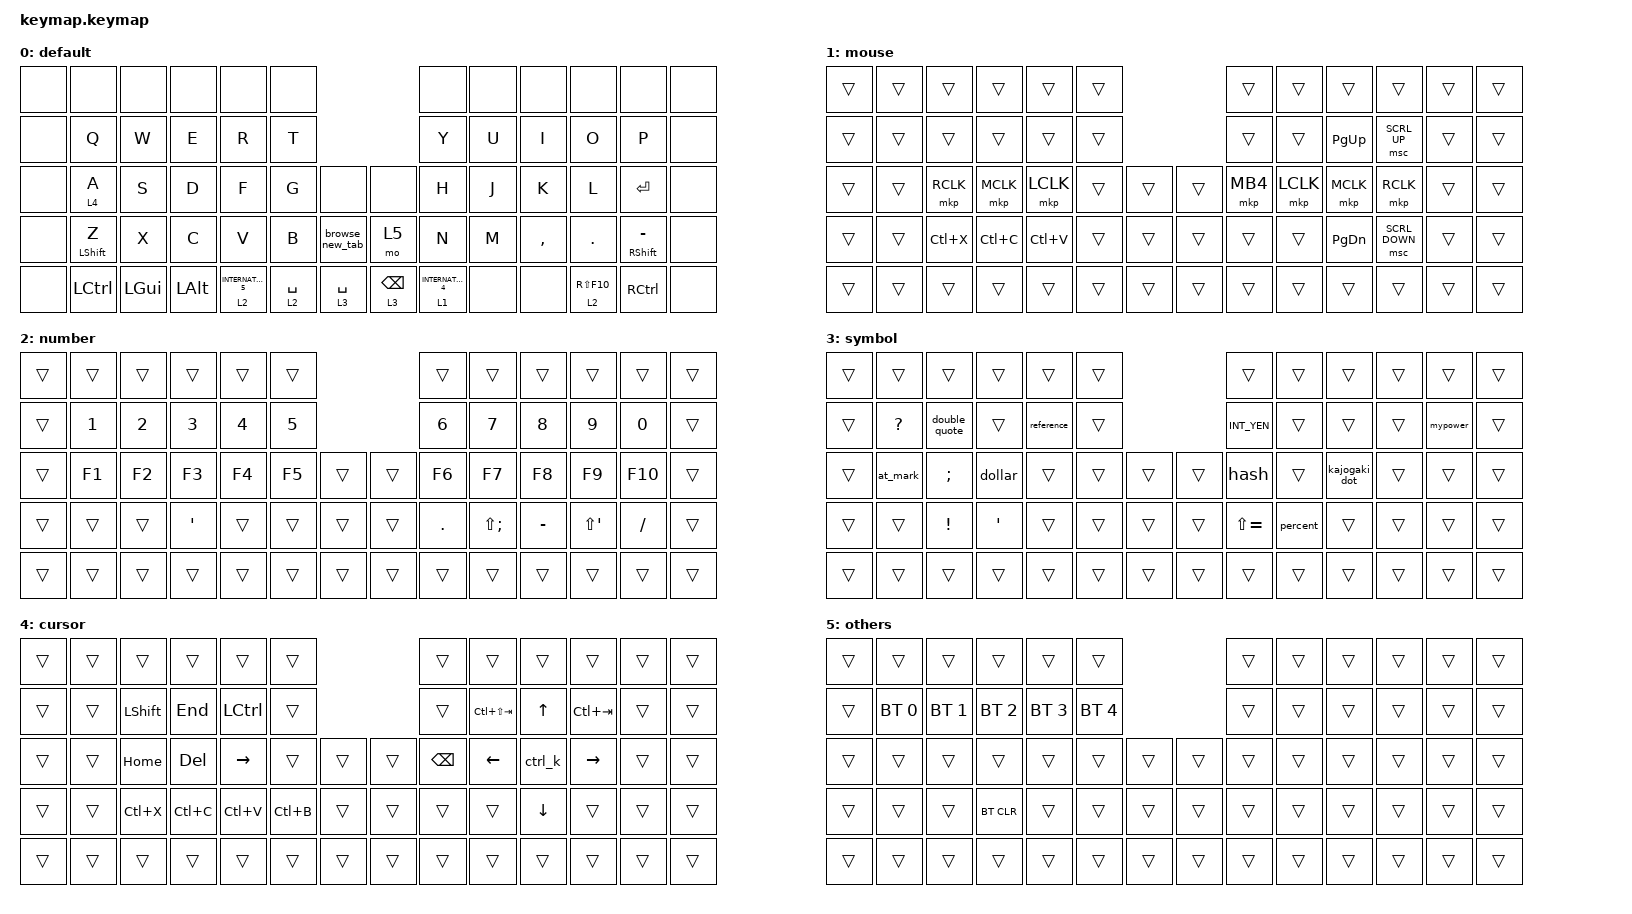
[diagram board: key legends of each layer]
#include <behaviors.dtsi>
#include <dt-bindings/zmk/bt.h>
#include <dt-bindings/zmk/keys.h>
#include <dt-bindings/zmk/pointing.h>

// OS設定を日本語キーボードのまま使用するための変換定義

#define JP_DQUOTE       AT                // "
#define JP_AMPERSAND    CARET             // &
#define JP_QUOTE        AMPERSAND         // '
#define JP_EQUAL        UNDER             // =
#define JP_CARET        EQUAL             // ^
#define JP_YEN          0x89              // ¥
#define JP_PLUS         COLON             // +
#define JP_TILDE        PLUS              // ~
#define JP_PIPE         LS(0x89)          // |
#define JP_AT           LEFT_BRACKET      // @
#define JP_COLON        SINGLE_QUOTE      // :
#define JP_ASTERISK     DOUBLE_QUOTES     // *
#define JP_BACKQUOTE    LEFT_BRACE        // `
#define JP_UNDERSCORE   LS(0x87)          // _
#define JP_LBRACKET     RIGHT_BRACKET     // [
#define JP_RBRACKET     BACKSLASH         // ]
#define JP_LPAREN       ASTERISK          // (
#define JP_RPAREN       LEFT_PARENTHESIS  // )
#define JP_LBRACE       RIGHT_BRACE       // {
#define JP_RBRACE       PIPE              // }
#define JP_KANA         LANGUAGE_1        // かな
#define JP_EISU         LANGUAGE_2        // 英数
#define JP_HANZEN       GRAVE             // 半角/全角

&mt {
    tapping-term-ms = <300>;
    flavor = "tap-preferred";
};

&lt { tapping-term-ms = <250>; };

/ {
    combos {
        compatible = "zmk,combos";

        bt_clear {
            bindings = <&bt BT_CLR>;
            key-positions = <28 29>;
            layers = <2>;
        };

        escape {
            bindings = <&kp ESCAPE>;
            key-positions = <25 28>;
        };

        tab {
            bindings = <&kp TAB>;
            key-positions = <13 14>;
        };

        gui_left {
            bindings = <&kp LGUI>;
            key-positions = <40 41>;
        };

        gui_right {
            bindings = <&kp RIGHT_META>;
            key-positions = <49 48>;
        };

        minus {
            bindings = <&kp MINUS>;
            key-positions = <36 50>;
        };

        alt_right {
            bindings = <&kp RIGHT_ALT>;
            key-positions = <20 21>;
        };

        alt_left {
            bindings = <&kp LEFT_ALT>;
            key-positions = <14 15>;
        };

        pipe {
            bindings = <&kp JP_PIPE>;
            key-positions = <18 40>;
        };

        slash {
            bindings = <&slash>;
            key-positions = <19 40>;
        };

        minus_2 {
            bindings = <&kp MINUS>;
            key-positions = <33 40>;
        };

        backslash {
            bindings = <&backslash>;
            key-positions = <47 40>;
        };

        underscore {
            bindings = <&underscore>;
            key-positions = <46 40>;
        };

        kakko_maru {
            bindings = <&marukakko>;
            key-positions = <47 34>;
        };

        kakko_kagi {
            bindings = <&kagikakko>;
            key-positions = <34 41>;
        };

        kakko_dai {
            bindings = <&daikakko>;
            key-positions = <34 27>;
        };

        kakko_nami {
            bindings = <&namikakko>;
            key-positions = <34 46>;
        };
    };

    macros {
        kagikakko: kagikakko {
            compatible = "zmk,behavior-macro";
            #binding-cells = <0>;
            bindings = <&kp INTERNATIONAL_4 &kp RIGHT_BRACKET &kp BACKSLASH &kp ENTER &kp LEFT>;
            label = "KAGIKAKKO";
        };

        browse_new_tab: browse_new_tab {
            compatible = "zmk,behavior-macro";
            #binding-cells = <0>;
            bindings = <&kp LC(C) &kp LC(T) &kp LC(V) &kp ENTER>;
            label = "BROWSE_NEW_TAB";
        };

        ctrl_k: ctrl_k {
            compatible = "zmk,behavior-macro";
            #binding-cells = <0>;
            bindings = <&kp LS(END) &kp LC(X)>;
            label = "CTRL_K";
        };

        marukakko: marukakko {
            compatible = "zmk,behavior-macro";
            #binding-cells = <0>;
            bindings = <&kp INTERNATIONAL_5 &kp LS(ASTRK) &kp LS(NUMBER_9) &kp LEFT_ARROW &kp INTERNATIONAL_4>;
            label = "MARUKAKKO";
        };

        daikakko: daikakko {
            compatible = "zmk,behavior-macro";
            #binding-cells = <0>;
            bindings = <&kp INTERNATIONAL_5 &kp JP_LBRACKET &kp JP_RBRACKET &kp LEFT_ARROW &kp INTERNATIONAL_4>;
            label = "DAIKAKKO";
        };

        namikakko: namikakko {
            compatible = "zmk,behavior-macro";
            #binding-cells = <0>;
            bindings = <&kp INTERNATIONAL_5 &kp JP_LBRACE &kp JP_RBRACE &kp LEFT_ARROW &kp INTERNATIONAL_4>;
            label = "NAMIKAKKO";
        };

        double_quote: double_quote {
            compatible = "zmk,behavior-macro";
            #binding-cells = <0>;
            bindings = <&kp INTERNATIONAL_5 &kp AT_SIGN &kp AT_SIGN &kp LEFT &kp INTERNATIONAL_4>;
            label = "DOUBLE_QUOTE";
        };

        at_mark: at_mark {
            compatible = "zmk,behavior-macro";
            #binding-cells = <0>;
            bindings = <&kp INTERNATIONAL_5 &kp LEFT_BRACKET>;
            label = "AT_MARK";
        };

        slash: slash {
            compatible = "zmk,behavior-macro";
            #binding-cells = <0>;
            bindings = <&kp INTERNATIONAL_5 &kp SLASH>;
            label = "SLASH";
        };

        hash: hash {
            compatible = "zmk,behavior-macro";
            #binding-cells = <0>;
            bindings = <&kp INTERNATIONAL_5 &kp LS(NUMBER_3)>;
            label = "HASH";
        };

        dollar: dollar {
            compatible = "zmk,behavior-macro";
            #binding-cells = <0>;
            bindings = <&kp INTERNATIONAL_5 &kp LS(NUMBER_4)>;
            label = "DOLLAR";
        };

        percent: percent {
            compatible = "zmk,behavior-macro";
            #binding-cells = <0>;
            bindings = <&kp INTERNATIONAL_5 &kp LS(N5)>;
            label = "PERCENT";
        };

        reference: reference {
            compatible = "zmk,behavior-macro";
            #binding-cells = <0>;
            bindings = <&kp INTERNATIONAL_5 &kp LS(NUMBER_6)>;
            label = "REFERENCE";
        };

        underscore: underscore {
            compatible = "zmk,behavior-macro";
            #binding-cells = <0>;
            bindings = <&kp INTERNATIONAL_5 &kp JP_UNDERSCORE>;
            label = "UNDERSCORE";
        };

        backslash: backslash {
            compatible = "zmk,behavior-macro";
            #binding-cells = <0>;
            bindings = <&kp INTERNATIONAL_5 &kp JP_YEN>;
            label = "BACKSLASH";
        };

        mypower: mypower {
            compatible = "zmk,behavior-macro";
            #binding-cells = <0>;
            bindings = <&kp INTERNATIONAL_5 &kp JP_CARET>;
            label = "MYPOWER";
        };

        kajogaki_dot: kajogaki_dot {
            compatible = "zmk,behavior-macro";
            #binding-cells = <0>;
            bindings = <&kp INTERNATIONAL_4 &kp SLASH &kp ENTER>;
            label = "KAJOGAKI_DOT";
        };

        click_and_ctrlv: click_and_ctrlv {
            compatible = "zmk,behavior-macro";
            #binding-cells = <0>;
            bindings = <&mkp LCLK &kp LC(V)>;
            label = "CLICK_AND_CTRLV";
        };
    };

    keymap {
        compatible = "zmk,keymap";

        default {
            bindings = <
&none  &none             &none     &none     &none                  &none                                          &none                  &none  &none      &none          &none                  &none
&none  &kp Q             &kp W     &kp E     &kp R                  &kp T                                          &kp Y                  &kp U  &kp I      &kp O          &kp P                  &none
&none  &lt 4 A           &kp S     &kp D     &kp F                  &kp G        &none            &none            &kp H                  &kp J  &kp K      &kp L          &kp ENTER              &none
&none  &mt LEFT_SHIFT Z  &kp X     &kp C     &kp V                  &kp B        &browse_new_tab  &mo 5            &kp N                  &kp M  &kp COMMA  &kp DOT        &mt RIGHT_SHIFT MINUS  &none
&none  &kp LCTRL         &kp LGUI  &kp LALT  &lt 2 INTERNATIONAL_5  &lt 2 SPACE  &lt 3 SPACE      &lt 3 BACKSPACE  &lt 1 INTERNATIONAL_4  &none  &none      &lt 2 RS(F10)  &kp RCTRL              &none
            >;
        };

        mouse {
            bindings = <
&trans  &trans  &trans     &trans     &trans     &trans                  &trans    &trans     &trans         &trans          &trans  &trans
&trans  &trans  &trans     &trans     &trans     &trans                  &trans    &trans     &kp PAGE_UP    &msc SCRL_UP    &trans  &trans
&trans  &trans  &mkp RCLK  &mkp MCLK  &mkp LCLK  &trans  &trans  &trans  &mkp MB4  &mkp LCLK  &mkp MCLK      &mkp RCLK       &trans  &trans
&trans  &trans  &kp LC(X)  &kp LC(C)  &kp LC(V)  &trans  &trans  &trans  &trans    &trans     &kp PAGE_DOWN  &msc SCRL_DOWN  &trans  &trans
&trans  &trans  &trans     &trans     &trans     &trans  &trans  &trans  &trans    &trans     &trans         &trans          &trans  &trans
            >;
        };

        number {
            bindings = <
&trans  &trans        &trans        &trans            &trans  &trans                  &trans      &trans        &trans     &trans        &trans     &trans
&trans  &kp NUMBER_1  &kp NUMBER_2  &kp N3            &kp N4  &kp N5                  &kp N6      &kp N7        &kp N8     &kp N9        &kp N0     &trans
&trans  &kp F1        &kp F2        &kp F3            &kp F4  &kp F5  &trans  &trans  &kp F6      &kp F7        &kp F8     &kp F9        &kp F10    &trans
&trans  &trans        &trans        &kp SINGLE_QUOTE  &trans  &trans  &trans  &trans  &kp PERIOD  &kp LS(SEMI)  &kp MINUS  &kp LS(APOS)  &kp SLASH  &trans
&trans  &trans        &trans        &trans            &trans  &trans  &trans  &trans  &trans      &trans        &trans     &trans        &trans     &trans
            >;
        };

        symbol {
            bindings = <
&trans  &trans        &trans           &trans    &trans      &trans                  &trans         &trans    &trans         &trans  &trans    &trans
&trans  &kp QUESTION  &double_quote    &trans    &reference  &trans                  &kp INT_YEN    &trans    &trans         &trans  &mypower  &trans
&trans  &at_mark      &kp SEMI         &dollar   &trans      &trans  &trans  &trans  &hash          &trans    &kajogaki_dot  &trans  &trans    &trans
&trans  &trans        &kp EXCLAMATION  &kp APOS  &trans      &trans  &trans  &trans  &kp LS(EQUAL)  &percent  &trans         &trans  &trans    &trans
&trans  &trans        &trans           &trans    &trans      &trans  &trans  &trans  &trans         &trans    &trans         &trans  &trans    &trans
            >;
        };

        cursor {
            bindings = <
&trans  &trans  &trans          &trans     &trans            &trans                     &trans         &trans           &trans          &trans       &trans  &trans
&trans  &trans  &kp LEFT_SHIFT  &kp END    &kp LEFT_CONTROL  &trans                     &trans         &kp LC(LS(TAB))  &kp UP_ARROW    &kp LC(TAB)  &trans  &trans
&trans  &trans  &kp HOME        &kp DEL    &kp RIGHT         &trans     &trans  &trans  &kp BACKSPACE  &kp LEFT_ARROW   &ctrl_k         &kp RIGHT    &trans  &trans
&trans  &trans  &kp LC(X)       &kp LC(C)  &kp LC(V)         &kp LC(B)  &trans  &trans  &trans         &trans           &kp DOWN_ARROW  &trans       &trans  &trans
&trans  &trans  &trans          &trans     &trans            &trans     &trans  &trans  &trans         &trans           &trans          &trans       &trans  &trans
            >;
        };

        others {
            bindings = <
&trans  &trans        &trans        &trans        &trans        &trans                        &trans  &trans  &trans  &trans  &trans  &trans
&trans  &bt BT_SEL 0  &bt BT_SEL 1  &bt BT_SEL 2  &bt BT_SEL 3  &bt BT_SEL 4                  &trans  &trans  &trans  &trans  &trans  &trans
&trans  &trans        &trans        &trans        &trans        &trans        &trans  &trans  &trans  &trans  &trans  &trans  &trans  &trans
&trans  &trans        &trans        &bt BT_CLR    &trans        &trans        &trans  &trans  &trans  &trans  &trans  &trans  &trans  &trans
&trans  &trans        &trans        &trans        &trans        &trans        &trans  &trans  &trans  &trans  &trans  &trans  &trans  &trans
            >;
        };
    };
};
